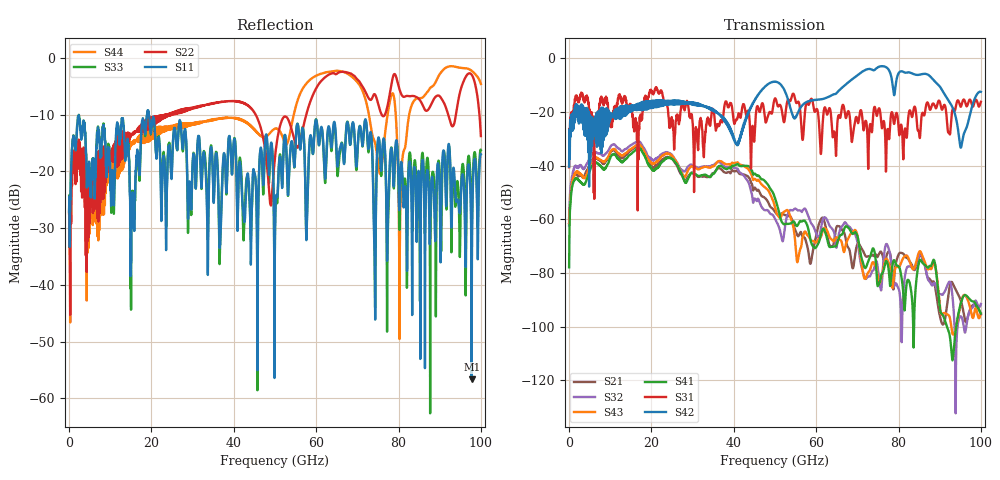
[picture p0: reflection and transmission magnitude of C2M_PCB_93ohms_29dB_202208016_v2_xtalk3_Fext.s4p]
! Info: Touchstone file created by Circ.  Input file=Intel_C2M_200G_13p0in_202208016_staggered.circ
# Hz S RI R 50
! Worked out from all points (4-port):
!   10000 points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, 10 MHz to 100 GHz, reference 50 ohm
!   strongest paths, dB at 10 MHz, 25.01 GHz, 50.01 GHz, 75.01 GHz, 100 GHz:
!     S42: -40.4, -16.8, -8.7, -3.4, -12.5
!     S31: -40.6, -23.3, -15.0, -19.7, -16.2
!     S41: -77.9, -37.5, -52.1, -84.8, -95.1
!     S43: -61.7, -36.3, -55.5, -81.9, -94.9
!     S32: -62.3, -36.0, -59.8, -78.6, -91.5
!     S21: -59.6, -37.5, -57.2, -73.7, -95.4
!   lowest |S11| = -56.6 dB at 97.76 GHz (marker M1), VSWR 1.00, Z = 50.1 - j0.0533 ohm
!   |S11| at or under -10 dB: start of sweep to 18.95 GHz; 19.37 GHz to end of sweep
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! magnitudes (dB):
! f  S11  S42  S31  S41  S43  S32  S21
! 10 MHz  -27.0  -40.4  -40.6  -77.9  -61.7  -62.3  -59.6
! 1.36 GHz  -15.4  -18.8  -15.7  -45.1  -43.0  -40.2  -43.2
! 16.86 GHz  -18.6  -17.5  -30.7  -33.5  -32.1  -30.9  -32.5
! 66.32 GHz  -15.3  -10.9  -17.9  -65.6  -69.2  -62.6  -64.1
! 80.35 GHz  -22.1  -5.0  -27.0  -78.6  -77.2  -88.5  -72.5
! 97.76 GHz  -56.6  -18.5  -17.0  -90.4  -95.5  -93.2  -92.4
! 100 GHz  -16.9  -12.5  -16.2  -95.1  -94.9  -91.5  -95.4
